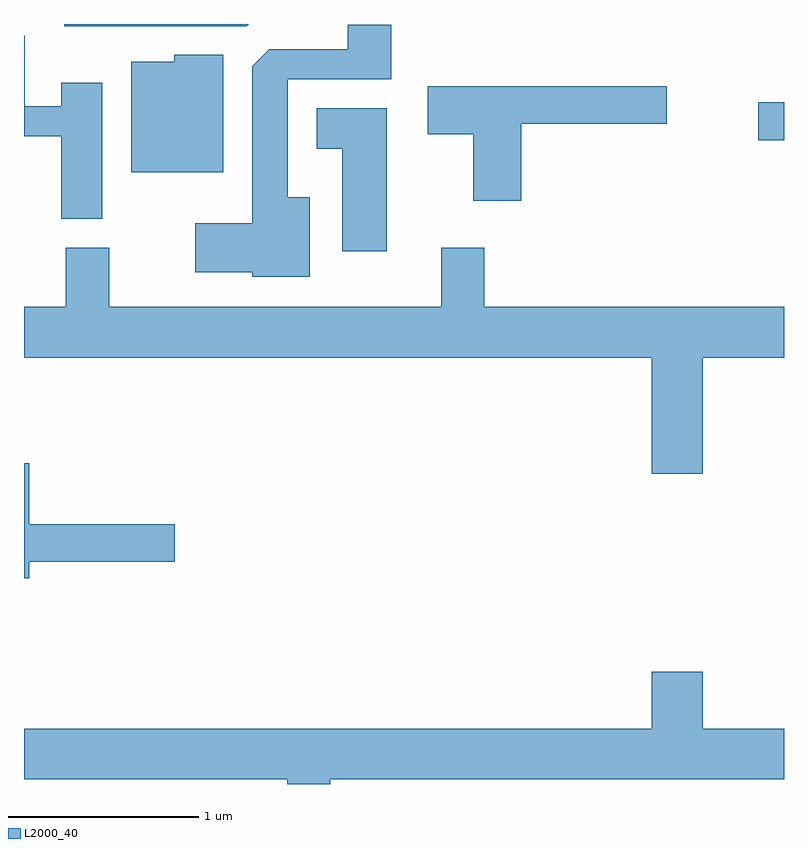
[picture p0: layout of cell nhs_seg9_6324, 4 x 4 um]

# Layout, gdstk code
import gdstk
lib = gdstk.Library(unit=1e-6, precision=1e-09)
def R(c, l, rs):  # rectangles x0, y0, x1, y1
    for r in rs: c.add(gdstk.rectangle(r[:2], r[2:], *l))
def P(c, l, *ps):  # polygons
    for p in ps: c.add(gdstk.Polygon(p, *l))
L2000_40 = (2000, 40)

nhs_seg9_6324 = lib.new_cell('nhs_seg9_6324')
R(nhs_seg9_6324, L2000_40, [(375.476,2021.821,375.611,2022.019)])
P(nhs_seg9_6324, L2000_40, [(372.795,2022.432),(371.823,2022.432),(371.823,2022.421),(372.784,2022.421)],
  [(373.114,2021.519),(372.999,2021.519),(372.999,2022.141),(373.544,2022.141),(373.544,2022.429),(373.316,2022.429),(373.316,2022.299),(372.902,2022.299),(372.811,2022.209),(372.811,2021.384),(372.511,2021.384),(372.511,2021.126),(372.811,2021.126),(372.811,2021.101),(373.114,2021.101)],
  [(372.024,2022.124),(371.806,2022.124),(371.806,2021.999),(371.614,2021.999),(371.614,2022.369),(371.611,2022.369),(371.611,2021.841),(371.806,2021.841),(371.806,2021.406),(372.024,2021.406)],
  [(372.659,2022.269),(372.401,2022.269),(372.401,2022.234),(372.176,2022.234),(372.176,2021.651),(372.659,2021.651)],
  [(374.229,2021.906),(374.994,2021.906),(374.994,2022.104),(373.736,2022.104),(373.736,2021.851),(373.976,2021.851),(373.976,2021.501),(374.229,2021.501)],
  [(373.519,2021.989),(373.151,2021.989),(373.151,2021.776),(373.286,2021.776),(373.286,2021.236),(373.519,2021.236)],
  [(375.184,2020.676),(375.611,2020.676),(375.611,2020.944),(374.034,2020.944),(374.034,2021.254),(373.806,2021.254),(373.806,2020.944),(372.059,2020.944),(372.059,2021.254),(371.831,2021.254),(371.831,2020.944),(371.611,2020.944),(371.611,2020.676),(374.916,2020.676),(374.916,2020.066),(375.184,2020.066)],
  [(371.639,2019.601),(372.404,2019.601),(372.404,2019.799),(371.639,2019.799),(371.639,2020.119),(371.611,2020.119),(371.611,2019.516),(371.639,2019.516)],
  [(373.224,2018.456),(375.611,2018.456),(375.611,2018.724),(375.184,2018.724),(375.184,2019.024),(374.916,2019.024),(374.916,2018.724),(371.611,2018.724),(371.611,2018.456),(372.996,2018.456),(372.996,2018.432),(373.224,2018.432)])

lib.write_gds('nhs_seg9_6324.gds')
